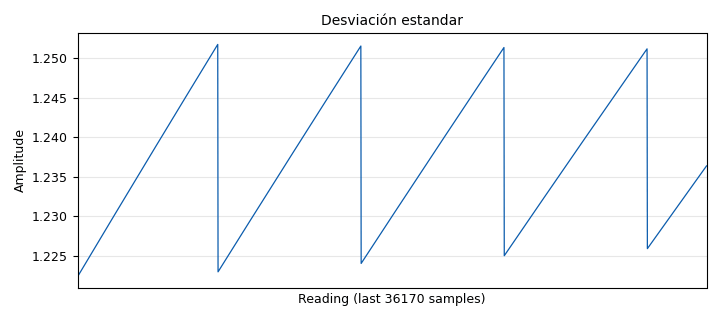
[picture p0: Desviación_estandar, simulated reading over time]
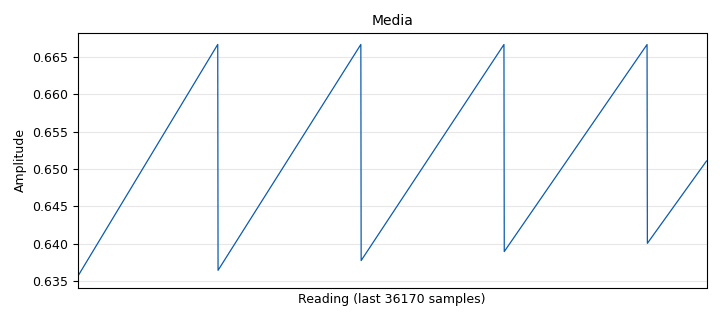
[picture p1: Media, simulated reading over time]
options:
  parameters:
    generate_options: qt_gui
    id: untitled
    output_language: python
    title: Not titled yet
  states: {}

blocks:
- name: samp_rate
  id: variable
  parameters:
    value: '32000'
  states: {}
- name: Desviación_estandar
  id: qtgui_number_sink
  parameters:
    graph_type: qtgui.NUM_GRAPH_HORIZ
    name: '"Desviación estandar"'
    type: float
  states: {}
- name: Media
  id: qtgui_number_sink
  parameters:
    graph_type: qtgui.NUM_GRAPH_HORIZ
    name: '"Media"'
    type: float
  states: {}
- name: Mediacuadratica
  id: qtgui_number_sink
  parameters:
    graph_type: qtgui.NUM_GRAPH_HORIZ
    name: '"Media cuadratica"'
    type: float
  states: {}
- name: Potencia_promedio
  id: qtgui_number_sink
  parameters:
    graph_type: qtgui.NUM_GRAPH_HORIZ
    name: '"Potencia promedio"'
    type: float
  states: {}
- name: RMS
  id: qtgui_number_sink
  parameters:
    graph_type: qtgui.NUM_GRAPH_HORIZ
    name: '"RMS"'
    type: float
  states: {}
- name: blocks_vector_source_x_1
  id: blocks_vector_source_x
  parameters:
    repeat: 'True'
    type: float
    vector: (1, 2, -1)
  states: {}
- name: epy_block_0
  id: epy_block
  parameters:
    _source_code: |
      import numpy as np
      from gnuradio import gr


      class blk(gr.sync_block):

          def __init__(self):
              # only default arguments here
              gr.sync_block.__init__(
                  self,
                  name='Promedios_de_tiempos',  # will show up in GRC
                  in_sig=[np.float32],
                  out_sig=[
                      np.float32,
                      np.float32,
                      np.float32,
                      np.float32,
                      np.float32
                  ]
              )

              self.acum_anterior = 0
              self.Ntotales = 0
              self.acum_anterior1 = 0
              self.acum_anterior2 = 0

          def work(self, input_items, output_items):

              x = input_items[0]       # Señal de entrada
              y0 = output_items[0]     # Promedio de la señal
              y1 = output_items[1]     # Media de la señal
              y2 = output_items[2]     # RMS de la señal
              y3 = output_items[3]     # Potencia promedio de la señal
              y4 = output_items[4]     # Desviación estándar de la señal

              # Calculo del promedio
              N = len(x)
              self.Ntotales = self.Ntotales + N

              acumulado = self.acum_anterior + np.cumsum(x)
              self.acum_anterior = acumulado[N - 1]

              y0[:] = acumulado / self.Ntotales

              # Calculo de la media cuadrática
              x2 = np.multiply(x, x)

              acumulado1 = self.acum_anterior1 + np.cumsum(x2)
              self.acum_anterior1 = acumulado1[N - 1]

              y1[:] = acumulado1 / self.Ntotales

              # Calculo de la RMS
              y2[:] = np.sqrt(y1)

              # Calculo de la potencia
              y3[:] = np.multiply(y2, y2)

              # Calculo de la desviación estándar
              x3 = np.multiply(x - y0, x - y0)

              acumulado2 = self.acum_anterior2 + np.cumsum(x3)
              self.acum_anterior2 = acumulado2[N - 1]

              y4[:] = np.sqrt(acumulado2 / self.Ntotales)

              return len(x)
    alias: Promedio_tiempo
  states: {}

connections:
- [blocks_vector_source_x_1, '0', epy_block_0, '0']
- [epy_block_0, '0', Media, '0']
- [epy_block_0, '1', Mediacuadratica, '0']
- [epy_block_0, '2', RMS, '0']
- [epy_block_0, '3', Potencia_promedio, '0']
- [epy_block_0, '4', Desviación_estandar, '0']

metadata:
  file_format: 1
  grc_version: 3.10.12.0
